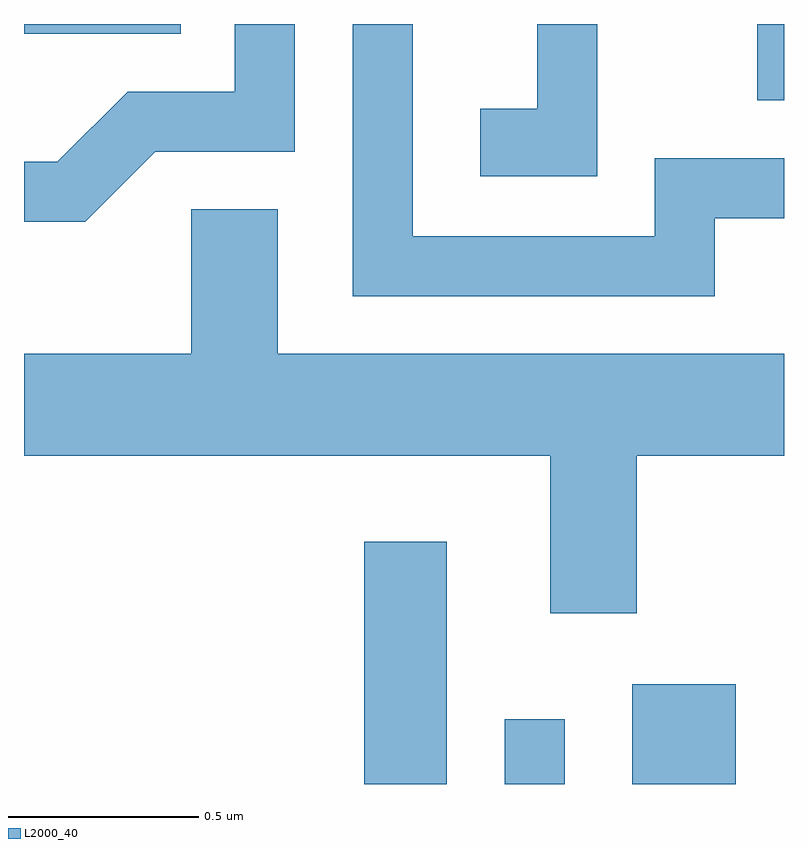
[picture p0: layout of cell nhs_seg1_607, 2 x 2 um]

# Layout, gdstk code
import gdstk
lib = gdstk.Library(unit=1e-6, precision=1e-09)
def R(c, l, rs):  # rectangles x0, y0, x1, y1
    for r in rs: c.add(gdstk.rectangle(r[:2], r[2:], *l))
def P(c, l, *ps):  # polygons
    for p in ps: c.add(gdstk.Polygon(p, *l))
L2000_40 = (2000, 40)

nhs_seg1_607 = lib.new_cell('nhs_seg1_607')
R(nhs_seg1_607, L2000_40, [(190.506,898.712,190.724,899.349), (190.876,898.712,191.034,898.883), (191.211,898.712,191.484,898.974), (191.541,900.511,191.611,900.712), (189.611,900.686,190.023,900.712)])
P(nhs_seg1_607, L2000_40, [(191.429,900.201),(191.611,900.201),(191.611,900.359),(191.271,900.359),(191.271,900.154),(190.634,900.154),(190.634,900.712),(190.476,900.712),(190.476,899.996),(191.429,899.996)],
  [(189.957,900.376),(190.324,900.376),(190.324,900.712),(190.166,900.712),(190.166,900.534),(189.884,900.534),(189.699,900.349),(189.611,900.349),(189.611,900.191),(189.772,900.191)],
  [(191.119,900.712),(190.961,900.712),(190.961,900.489),(190.811,900.489),(190.811,900.311),(191.119,900.311)],
  [(191.224,899.576),(191.611,899.576),(191.611,899.844),(190.279,899.844),(190.279,900.224),(190.051,900.224),(190.051,899.844),(189.611,899.844),(189.611,899.576),(190.996,899.576),(190.996,899.161),(191.224,899.161)])

lib.write_gds('nhs_seg1_607.gds')
